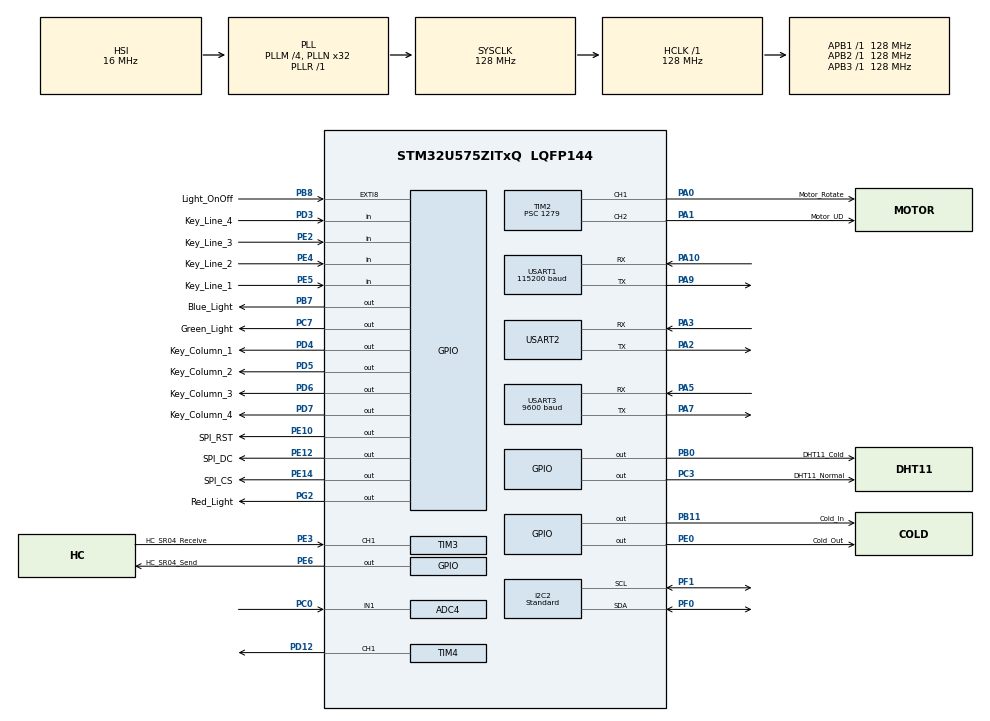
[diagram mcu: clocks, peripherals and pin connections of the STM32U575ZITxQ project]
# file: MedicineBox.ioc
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ADC4.Channel-1\#ChannelRegularConversion=ADC_CHANNEL_1
ADC4.ClockPrescaler=ADC_CLOCK_ASYNC_DIV8
ADC4.ContinuousConvMode=ENABLE
ADC4.DMAContinuousRequests=ENABLE
ADC4.EnableAnalogWatchDog1=false
ADC4.LowPowerAutoWait=DISABLE
ADC4.NbrOfConversionFlag=1
ADC4.OffsetNumber-1\#ChannelRegularConversion=ADC_OFFSET_NONE
ADC4.Overrun=ADC_OVR_DATA_OVERWRITTEN
ADC4.Rank-1\#ChannelRegularConversion=1
ADC4.RankArg-1\#ChannelRegularConversion=ADC4_REGULAR_RANK_1
ADC4.SamplingTime-1\#ChannelRegularConversion=ADC4_SAMPLINGTIME_COMMON_1
ADC4.SamplingTimeCommon1=ADC4_SAMPLETIME_814CYCLES_5
ADC4.SamplingTimeCommon2=ADC4_SAMPLETIME_814CYCLES_5
ADC4.SelectedChannel=ADC_CHANNEL_1
CORTEX_M33_NS.userName=CORTEX_M33
GPDMA1.BLKHWREQUEST_GPDMACH2-SIMPLEREQUEST_GPDMACH2=DMA_BREQ_BLOCK
GPDMA1.CIRCULARMODE_GPDMACH2=DISABLE
GPDMA1.CIRCULARMODE_GPDMACH3=DISABLE
GPDMA1.CIRCULARMODE_GPDMACH4=DISABLE
GPDMA1.CIRCULARMODE_GPDMACH5=ENABLE
GPDMA1.DESTDATAWIDTH_GPDMACH4=DMA_DEST_DATAWIDTH_BYTE
GPDMA1.DESTDATAWIDTH_GPDMACH5=DMA_DEST_DATAWIDTH_WORD
GPDMA1.DESTINC_GPDMACH2=DMA_DINC_INCREMENTED
GPDMA1.DIRECTION_GPDMACH1=DMA_MEMORY_TO_PERIPH
GPDMA1.DIRECTION_GPDMACH3=DMA_MEMORY_TO_PERIPH
GPDMA1.DIRECTION_GPDMACH4=DMA_MEMORY_TO_PERIPH
GPDMA1.IPHANDLE_GPDMACH1-SIMPLEREQUEST_GPDMACH1=__NULL
GPDMA1.IPHANDLE_GPDMACH2-SIMPLEREQUEST_GPDMACH2=__NULL
GPDMA1.IPHANDLE_GPDMACH3-SIMPLEREQUEST_GPDMACH3=__NULL
GPDMA1.IPHANDLE_GPDMACH4-SIMPLEREQUEST_GPDMACH4=__NULL
GPDMA1.IPHANDLE_GPDMACH5-SIMPLEREQUEST_GPDMACH5=__NULL
GPDMA1.PRIORITY_GPDMACH1=DMA_LOW_PRIORITY_MID_WEIGHT
GPDMA1.PRIORITY_GPDMACH2=DMA_LOW_PRIORITY_HIGH_WEIGHT
GPDMA1.REQUEST_GPDMACH1=GPDMA1_REQUEST_I2C2_TX
GPDMA1.REQUEST_GPDMACH2=GPDMA1_REQUEST_USART2_RX
GPDMA1.REQUEST_GPDMACH3=GPDMA1_REQUEST_USART2_TX
GPDMA1.REQUEST_GPDMACH4=GPDMA1_REQUEST_TIM4_CH1
GPDMA1.REQUEST_GPDMACH5=GPDMA1_REQUEST_ADC4
GPDMA1.SRCDATAWIDTH_GPDMACH4=DMA_SRC_DATAWIDTH_BYTE
GPDMA1.SRCDATAWIDTH_GPDMACH5=DMA_SRC_DATAWIDTH_WORD
GPDMA1.SRCINC_GPDMACH1=DMA_SINC_INCREMENTED
GPDMA1.SRCINC_GPDMACH2=DMA_SINC_FIXED
GPDMA1.SRCINC_GPDMACH3=DMA_SINC_INCREMENTED
GPDMA1.SRCINC_GPDMACH4=DMA_SINC_INCREMENTED
GPDMA1.TRIGGERPOLARITY_GPDMACH4=DMA_TRIG_POLARITY_MASKED
I2C2.I2C_Speed_Mode=I2C_Standard
I2C2.Timing=0x00303D5B
Mcu.Family=STM32U5
Mcu.Name=STM32U575ZITxQ
Mcu.Package=LQFP144
NVIC.ADC4_IRQn=true\:0\:0\:false\:false\:true\:true\:true\:true
NVIC.EXTI8_IRQn=true\:0\:0\:false\:false\:true\:true\:true\:true
NVIC.GPDMA1_Channel1_IRQn=true\:0\:0\:false\:false\:true\:false\:true\:true
NVIC.GPDMA1_Channel2_IRQn=true\:0\:0\:false\:false\:true\:false\:true\:true
NVIC.GPDMA1_Channel3_IRQn=true\:0\:0\:false\:false\:true\:false\:true\:true
NVIC.GPDMA1_Channel4_IRQn=true\:0\:0\:false\:false\:true\:false\:true\:true
NVIC.GPDMA1_Channel5_IRQn=true\:0\:0\:false\:false\:true\:false\:true\:true
NVIC.PriorityGroup=NVIC_PRIORITYGROUP_4
NVIC.RTC_IRQn=true\:0\:0\:false\:false\:true\:true\:true\:true
NVIC.TIM1_UP_IRQn=true\:15\:0\:false\:false\:true\:false\:true\:true
NVIC.TIM3_IRQn=true\:0\:0\:false\:false\:true\:true\:true\:true
NVIC.TIM4_IRQn=true\:0\:0\:false\:false\:true\:true\:true\:true
NVIC.TIM5_IRQn=true\:14\:0\:true\:false\:true\:true\:true\:true
NVIC.TimeBase=TIM1_UP_IRQn
NVIC.TimeBaseIP=TIM1
NVIC.USART1_IRQn=true\:1\:0\:true\:false\:true\:true\:true\:true
NVIC.USART2_IRQn=true\:0\:0\:true\:false\:true\:true\:true\:true
PA0.GPIO_Label=Motor_Rotate
PA0.Signal=S_TIM2_CH1
PA1.GPIO_Label=Motor_UD
PA1.Signal=S_TIM2_CH2
PA10.Mode=Asynchronous
PA10.Signal=USART1_RX
PA13\ (JTMS/SWDIO).Mode=Serial_Wire
PA13\ (JTMS/SWDIO).Signal=DEBUG_JTMS-SWDIO
PA14\ (JTCK/SWCLK).Mode=Serial_Wire
PA14\ (JTCK/SWCLK).Signal=DEBUG_JTCK-SWCLK
PA2.GPIO_PuPd=GPIO_PULLUP
PA2.GPIO_Speed=GPIO_SPEED_FREQ_HIGH
PA2.Mode=Asynchronous
PA2.Signal=USART2_TX
PA3.GPIO_PuPd=GPIO_PULLUP
PA3.GPIO_Speed=GPIO_SPEED_FREQ_HIGH
PA3.Mode=Asynchronous
PA3.Signal=USART2_RX
PA5.Mode=Asynchronous
PA5.Signal=USART3_RX
PA7.Mode=Asynchronous
PA7.Signal=USART3_TX
PA9.Mode=Asynchronous
PA9.Signal=USART1_TX
PB0.GPIO_Label=DHT11_Cold
PB0.PinState=GPIO_PIN_SET
PB0.Signal=GPIO_Output
PB11.GPIO_Label=Cold_In
PB11.GPIO_ModeDefaultOutputPP=GPIO_MODE_OUTPUT_PP
PB11.GPIO_PuPd=GPIO_PULLDOWN
PB11.GPIO_Speed=GPIO_SPEED_FREQ_HIGH
PB11.Signal=GPIO_Output
PB7.GPIO_Label=Blue_Light
PB7.GPIO_PuPd=GPIO_PULLDOWN
PB7.GPIO_Speed=GPIO_SPEED_FREQ_HIGH
PB7.PinState=GPIO_PIN_RESET
PB7.Signal=GPIO_Output
PB8.GPIO_Label=Light_On\\Off
PB8.GPIO_PuPd=GPIO_PULLUP
PB8.Signal=GPXTI8
PC0.Mode=IN1
PC0.Signal=ADC4_IN1
PC14-OSC32_IN\ (PC14).Mode=LSE-External-Oscillator
PC14-OSC32_IN\ (PC14).Signal=RCC_OSC32_IN
PC15-OSC32_OUT\ (PC15).Mode=LSE-External-Oscillator
PC15-OSC32_OUT\ (PC15).Signal=RCC_OSC32_OUT
PC3.GPIO_Label=DHT11_Normal
PC3.GPIO_ModeDefaultOutputPP=GPIO_MODE_OUTPUT_PP
PC3.GPIO_Speed=GPIO_SPEED_FREQ_LOW
PC3.PinState=GPIO_PIN_SET
PC3.Signal=GPIO_Output
PC7.GPIO_Label=Green_Light
PC7.GPIO_PuPd=GPIO_PULLDOWN
PC7.GPIO_Speed=GPIO_SPEED_FREQ_HIGH
PC7.Signal=GPIO_Output
PD12.GPIO_PuPd=GPIO_PULLUP
PD12.GPIO_Speed=GPIO_SPEED_FREQ_VERY_HIGH
PD12.Signal=S_TIM4_CH1
PD3.GPIO_Label=Key_Line_4
PD3.Signal=GPIO_Input
PD4.GPIO_Label=Key_Column_1
PD4.GPIO_PuPd=GPIO_PULLDOWN
PD4.Signal=GPIO_Output
PD5.GPIO_Label=Key_Column_2
PD5.GPIO_PuPd=GPIO_PULLDOWN
PD5.Signal=GPIO_Output
PD6.GPIO_Label=Key_Column_3
PD6.GPIO_PuPd=GPIO_PULLDOWN
PD6.Signal=GPIO_Output
PD7.GPIO_Label=Key_Column_4
PD7.GPIO_PuPd=GPIO_PULLDOWN
PD7.Signal=GPIO_Output
PE0.GPIO_Label=Cold_Out
PE0.GPIO_ModeDefaultOutputPP=GPIO_MODE_OUTPUT_OD
PE0.GPIO_PuPd=GPIO_NOPULL
PE0.GPIO_Speed=GPIO_SPEED_FREQ_LOW
PE0.PinState=GPIO_PIN_SET
PE0.Signal=GPIO_Output
PE10.GPIO_Label=SPI_RST
PE10.Signal=GPIO_Output
PE12.GPIO_Label=SPI_DC
PE12.Signal=GPIO_Output
PE14.GPIO_Label=SPI_CS
PE14.Signal=GPIO_Output
PE2.GPIO_Label=Key_Line_3
PE2.Signal=GPIO_Input
PE3.GPIO_Label=HC_SR04_Receive
PE3.Signal=S_TIM3_CH1
PE4.GPIO_Label=Key_Line_2
PE4.Signal=GPIO_Input
PE5.GPIO_Label=Key_Line_1
PE5.Signal=GPIO_Input
PE6.GPIO_Label=HC_SR04_Send
PE6.GPIO_PuPd=GPIO_PULLDOWN
PE6.GPIO_Speed=GPIO_SPEED_FREQ_LOW
PE6.Signal=GPIO_Output
PF0.GPIO_Pu=GPIO_PULLUP
PF0.Mode=I2C
PF0.Signal=I2C2_SDA
PF1.GPIO_Pu=GPIO_PULLUP
PF1.Mode=I2C
PF1.Signal=I2C2_SCL
PG2.GPIO_Label=Red_Light
PG2.GPIO_PuPd=GPIO_PULLDOWN
PG2.GPIO_Speed=GPIO_SPEED_FREQ_HIGH
PG2.Signal=GPIO_Output
PWR.IcachePowerDownInStopMode=__NULL
PWR.PowerMode=PWR_SMPS_SUPPLY
ProjectManager.HeapSize=0x200
ProjectManager.StackSize=0x400
ProjectManager.TargetToolchain=MDK-ARM V5.32
RCC.ADCFreq_Value=16000000
RCC.AHBFreq_Value=128000000
RCC.APB1Freq_Value=128000000
RCC.APB1TimFreq_Value=128000000
RCC.APB2Freq_Value=128000000
RCC.APB2TimFreq_Value=128000000
RCC.APB3Freq_Value=128000000
RCC.CortexFreq_Value=128000000
RCC.DACCLockSelectionVirtual=RCC_DAC1CLKSOURCE_LSI
RCC.DACCLockSelectionVirtualString=RCC_DAC1CLKSOURCE_LSI
RCC.EPOD_VALUE=16000000
RCC.HCLKFreq_Value=128000000
RCC.HSE_VALUE=16000000
RCC.HSI48_VALUE=48000000
RCC.HSI_VALUE=16000000
RCC.I2C2CLockSelection=RCC_I2C2CLKSOURCE_HSI
RCC.LPTIM1CLockSelectionVirtual=RCC_LPTIM1CLKSOURCE_LSI
RCC.LPTIM2CLockSelectionVirtual=RCC_LPTIM2CLKSOURCE_LSI
RCC.LSIDIV_VALUE=32000
RCC.MSIClockRange=RCC_MSIRANGE_0
RCC.MSI_VALUE=48000000
RCC.PLL1R=1
RCC.PLL2FRACN=0
RCC.PLL3FRACN=0
RCC.PLLFRACN=0
RCC.PLLM=4
RCC.PLLN=32
RCC.PLLSourceVirtual=RCC_PLLSOURCE_HSI
RCC.RTCClockSelection=RCC_RTCCLKSOURCE_LSE
RCC.SYSCLKFreq_VALUE=128000000
RCC.SYSCLKSource=RCC_SYSCLKSOURCE_PLLCLK
RCC.USBFreq_Value=48000000
RCC.VCOOutputFreq_Value=128000000
RTC.Alarm-Alarm\ A=RTC_ALARM_A
RTC.AlarmDateWeekDaySel-Alarm\ A=RTC_ALARMDATEWEEKDAYSEL_DATE
RTC.BinMode=RTC_BINARY_NONE
RTC.Date=8
RTC.Format=RTC_FORMAT_BIN
RTC.Hours=18
RTC.Hours_A-Alarm\ A=18
RTC.Minutes=25
RTC.Minutes_A-Alarm\ A=26
RTC.Month=RTC_MONTH_MAY
RTC.WeekDay=RTC_WEEKDAY_THURSDAY
RTC.Year=55
SH.S_TIM2_CH1.0=TIM2_CH1,PWM Generation1 CH1
SH.S_TIM2_CH2.0=TIM2_CH2,PWM Generation2 CH2
SH.S_TIM3_CH1.0=TIM3_CH1,Input_Capture1_from_TI1
SH.S_TIM4_CH1.0=TIM4_CH1,PWM Generation1 CH1
TIM2.AutoReloadPreload=TIM_AUTORELOAD_PRELOAD_ENABLE
TIM2.Channel-PWM\ Generation1\ CH1=TIM_CHANNEL_1
TIM2.Channel-PWM\ Generation2\ CH2=TIM_CHANNEL_2
TIM2.PeriodNoDither=2000
TIM2.Prescaler=1279
TIM2.TIM_MasterSlaveMode=TIM_MASTERSLAVEMODE_DISABLE
TIM3.AutoReloadPreload=TIM_AUTORELOAD_PRELOAD_ENABLE
TIM3.Channel-Input_Capture1_from_TI1=TIM_CHANNEL_1
TIM3.ICFilter_CH1=15
TIM3.PeriodNoDither=65535
TIM3.Prescaler=127
TIM3.TIM_MasterSlaveMode=TIM_MASTERSLAVEMODE_DISABLE
TIM4.Channel-PWM\ Generation1\ CH1=TIM_CHANNEL_1
TIM4.PeriodNoDither=127
TIM4.Prescaler=0
TIM5.AutoReloadPreload=TIM_AUTORELOAD_PRELOAD_ENABLE
TIM5.PeriodNoDither=9999
TIM5.Prescaler=12799
USART1.BaudRate=115200
USART1.DMADisableonRxErrorParam=ADVFEATURE_DMA_DISABLEONRXERROR
USART1.OverrunDisableParam=ADVFEATURE_OVERRUN_DISABLE
USART1.VirtualMode-Asynchronous=VM_ASYNC
USART2.DMADisableonRxErrorParam=ADVFEATURE_DMA_DISABLEONRXERROR
USART2.OverrunDisableParam=ADVFEATURE_OVERRUN_DISABLE
USART2.VirtualMode-Asynchronous=VM_ASYNC
USART3.BaudRate=9600
USART3.DMADisableonRxErrorParam=ADVFEATURE_DMA_DISABLEONRXERROR
USART3.Mode=MODE_TX
USART3.OverrunDisableParam=ADVFEATURE_OVERRUN_DISABLE
USART3.VirtualMode-Asynchronous=VM_ASYNC
VP_FMAC_VS_FMAC.Mode=FMAC_Activate
VP_GPDMA1_VS_GPDMACH1.Mode=SIMPLEREQUEST_GPDMACH1
VP_GPDMA1_VS_GPDMACH2.Mode=SIMPLEREQUEST_GPDMACH2
VP_GPDMA1_VS_GPDMACH3.Mode=SIMPLEREQUEST_GPDMACH3
VP_GPDMA1_VS_GPDMACH4.Mode=SIMPLEREQUEST_GPDMACH4
VP_GPDMA1_VS_GPDMACH5.Mode=SIMPLEREQUEST_GPDMACH5
VP_ICACHE_VS_ICACHE.Mode=DirectMappedCache
VP_LPBAMQUEUE_VS_QUEUE.Mode=QUEUEMODE
VP_LPBAM_VS_SIG1.Mode=SmartRun
VP_LPBAM_VS_SIG4.Mode=LPDMA1
VP_PWR_VS_DBSignals.Mode=DisableDeadBatterySignals
VP_PWR_VS_LPOM.Mode=PowerOptimisation
VP_PWR_VS_SECSignals.Mode=Security/Privilege
VP_RTC_VS_RTC_Activate.Mode=RTC_Enabled
VP_RTC_VS_RTC_Alarm_A_Intern.Mode=Alarm A
VP_RTC_VS_RTC_Calendar.Mode=RTC_Calendar
VP_SYS_VS_tim1.Mode=TIM1
VP_TIM2_VS_ClockSourceINT.Mode=Internal
VP_TIM3_VS_ClockSourceINT.Mode=Internal
VP_TIM4_VS_ClockSourceINT.Mode=Internal
VP_TIM5_VS_ClockSourceINT.Mode=Internal
board=custom

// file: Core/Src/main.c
/* USER CODE BEGIN Header */
/**
 ******************************************************************************
 * @file           : main.c
 * @brief          : Main program body
 ******************************************************************************
 * @attention
 *
 * Copyright (c) 2025 STMicroelectronics.
 * All rights reserved.
 *
 * This software is licensed under terms that can be found in the LICENSE file
 * in the root directory of this software component.
 * If no LICENSE file comes with this software, it is provided AS-IS.
 *
 ******************************************************************************
 */
/* USER CODE END Header */
#include "main.h"
#include "adc.h"
#include "fmac.h"
#include "gpdma.h"
#include "i2c.h"
#include "icache.h"
#include "rtc.h"
#include "tim.h"
#include "usart.h"
#include "gpio.h"

/* USER CODE BEGIN Includes */
#include "UART.h"
#include "oled.h"
#include "font.h"
#include "Flash.h"
#include "Motor.h"
#include "DHT11.h"
#include "GRB.h"
#include "HC_SR04.h"
#include "Key.h"
#include "RTC_Medicine.h"
#include "stm32u5xx_hal_rtc.h"
#include "stm32u5xx_hal_uart.h"
/* USER CODE END Includes */

/* USER CODE BEGIN PV */

RTC_TimeTypeDef sTime = {0};
RTC_DateTypeDef sDate = {0};
RTC_AlarmTypeDef sAlarm = {0};

/* USER CODE END PV */

void SystemClock_Config(void);
static void SystemPower_Config(void);
/* USER CODE BEGIN PFP */

/**
 * @brief 延迟函数修改
 */
void HAL_IncTick(void)
{
    if (uwTickFreq == 0)
    {
        uwTickFreq = HAL_TICK_FREQ_DEFAULT;
    }
    uwTick += uwTickFreq;
}

/* USER CODE END PFP */

/* USER CODE BEGIN 0 */

extern uint8_t Fan_Status;
extern uint8_t Temp, Humid;            ///< 温湿�???????????????????
extern uint8_t Light_Status;           ///< 夜间�???????????????????关灯状�??
extern uint32_t ADC_Light_Data;        ///< 光敏值，范围�???????????????????0~4095
extern uint8_t Day_Night_Status;       ///< 白天和夜晚状态，夜晚�???????????????????1
extern uint8_t Medicine_Remind_Status; ///< 服药提醒状�?�位�??????????????1为到点提�??????????????
extern const char Voice_Reminder[];
extern const char Voice_MedicineOK[]; ///< 网络连接成功语音
extern uint8_t Key_Status;            // 键盘从左�????右为1~4，从上往下为1�????5�????9�????13，对�????0~F标记

/* USER CODE END 0 */

int main(void)
{

  /* MCU Configuration--------------------------------------------------------*/

  /* Reset of all peripherals, Initializes the Flash interface and the Systick. */
  HAL_Init();

  /* Configure the system clock */
  SystemClock_Config();

  /* Configure the System Power */
  SystemPower_Config();

  /* Initialize all configured peripherals */
  MX_GPIO_Init();
  MX_TIM2_Init();
  MX_GPDMA1_Init();
  MX_USART2_UART_Init();
  MX_USART1_UART_Init();
  MX_RTC_Init();
  MX_ICACHE_Init();
  MX_FMAC_Init();
  MX_USART3_UART_Init();
  MX_TIM3_Init();
  MX_TIM4_Init();
  MX_ADC4_Init();
  MX_TIM5_Init();
  MX_I2C2_Init();
  /* USER CODE BEGIN 2 */

    All_Connect();

    DHT11_Delay_Init();                                                                                       // DWT计时器开�???????????????????
    HAL_TIM_Base_Start_IT(&htim5);                                                                            // �???????????????????启温度测�???????????????????
    HAL_TIM_IC_Start_IT(&htim3, TIM_CHANNEL_1);                                                               // �???????????????????启超声波测量
    __HAL_UART_ENABLE_IT(&huart2, UART_IT_IDLE);                                                              // �???????????????????启ESP01
    HAL_TIM_PWM_Start_DMA(&htim4, TIM_CHANNEL_1, (uint32_t *)LED_Array, sizeof(LED_Array) / sizeof(uint8_t)); // �???????????????????启灯�???????????????????

    HAL_ADCEx_Calibration_Start(&hadc4, ADC_CALIB_OFFSET, ADC_SINGLE_ENDED); // �???????????????????启光敏传�???????????????????
    HAL_Delay(1);
    HAL_ADC_Start_DMA(&hadc4, &ADC_Light_Data, 1);
    __HAL_ADC_ENABLE_IT(&hadc4, ADC_IT_AWD1);

    // HAL_GPIO_WritePin(GPIOG, GPIO_PIN_2, GPIO_PIN_SET); // 亮红�??????????
    // HAL_GPIO_WritePin(GPIOB, GPIO_PIN_7, GPIO_PIN_SET); // 亮蓝�??????????
    // HAL_GPIO_WritePin(GPIOC, GPIO_PIN_7, GPIO_PIN_SET); // 亮绿�??????????

    HSV Yellow_Color = {0}; ///< 黄色夜灯
    Yellow_Color.H = 40;
    Yellow_Color.S = 1.0f;
    Yellow_Color.V = 0.01f;

    HSV Orange_Color = {0}; ///< 橙色提醒
    Orange_Color.H = 15;
    Orange_Color.S = 1.0f;
    Orange_Color.V = 0.5f;

    HSV Blue_Color = {0}; ///< 蓝色制冷�??????????
    Blue_Color.H = 240;
    Blue_Color.S = 0.8f;
    Blue_Color.V = 0.5f;
    GRB GRB_Blue = {0};
    HSV_To_GRB(&Blue_Color, &GRB_Blue);

    GRB GRB_Yellow = {0};
    HSV_To_GRB(&Yellow_Color, &GRB_Yellow);

    float Measure = 0;
    uint8_t Night_Breath_Status = 0; ///< 判断白天是否关闭夜灯�???????????????????1为开启夜灯，使关灯只执行�???????????????????�???????????????????
    uint8_t Night_Light_Init = 0;    ///< 夜晚�??????????????�??????????????始亮�??????????????暗的灯，后面不变，亮灯为1

  /* USER CODE END 2 */

  /* Infinite loop */
  /* USER CODE BEGIN WHILE */
    while (1)
    {
        HAL_Delay(200);
        if (Light_Status)
        {
            if (Medicine_Remind_Status == 2) // 服药成功提示
            {
                GRB_Medicine_Successful();
                Voice_Remind(Voice_MedicineOK);
            }
            else if (ADC_Light_Data > 3600) // 夜间状�??
            {
                if (!Night_Light_Init) // 亮黄夜灯
                {
                    for (uint8_t i = 0; i < 60; i++)
                    {
                        GRB_Write(i, GRB_Yellow);
                    }
                    GRB_Send();
                    Night_Light_Init = 1;
                }
                HAL_GPIO_WritePin(GPIOB, GPIO_PIN_7, GPIO_PIN_SET);
                HC_Send_Trig();
                HAL_Delay(50);
                Measure = HC_Get_Measure(Temp);
                GRB_Distance_Breath(&Yellow_Color, Measure);
                Night_Breath_Status = 1;
            }
            else if (Medicine_Remind_Status == 1) // 服药提醒�??????????
            {
                GRB_Breath(&Orange_Color);
                Voice_Remind(Voice_Reminder);
            }
            else if (Fan_Status == 1) // 制冷�??????????
            {
                for (uint8_t i = 0; i < 60; i++)
                {
                    GRB_Write(i, GRB_Blue);
                }
                GRB_Send();
            }
            else if (ADC_Light_Data < 3550) // 白天关夜�??????????
            {
                Night_Light_Init = 0;
                GRB_Close();
                Night_Breath_Status = 0;
                HAL_GPIO_WritePin(GPIOB, GPIO_PIN_7, GPIO_PIN_RESET);
            }
        }
        else if (Night_Breath_Status)
        {
            GRB_Close();
            Night_Breath_Status = 0;
            HAL_GPIO_WritePin(GPIOB, GPIO_PIN_7, GPIO_PIN_RESET);
        }
        HAL_RTC_GetTime(&hrtc, &sTime, RTC_FORMAT_BIN);
        HAL_RTC_GetDate(&hrtc, &sDate, RTC_FORMAT_BIN);
        HAL_RTC_GetAlarm(&hrtc, &sAlarm, RTC_ALARM_A, RTC_FORMAT_BIN);
        Motor_Operation(&Cabinet_List);
        Uart_printf(&huart1, "Time:%d/%d/%d %d:%d:%d\nAlarm:%d %d:%d", sDate.Year, sDate.Month, sDate.Date, sTime.Hours, sTime.Minutes, sTime.Seconds, sAlarm.AlarmDateWeekDay, sAlarm.AlarmTime.Hours, sAlarm.AlarmTime.Minutes);

    /* USER CODE END WHILE */

    }
}

void SystemClock_Config(void)
{
  RCC_OscInitTypeDef RCC_OscInitStruct = {0};
  RCC_ClkInitTypeDef RCC_ClkInitStruct = {0};

  /** Configure the main internal regulator output voltage
  */
  if (HAL_PWREx_ControlVoltageScaling(PWR_REGULATOR_VOLTAGE_SCALE1) != HAL_OK)
  {
    Error_Handler();
  }

  /** Configure LSE Drive Capability
  */
  HAL_PWR_EnableBkUpAccess();
  __HAL_RCC_LSEDRIVE_CONFIG(RCC_LSEDRIVE_LOW);

  /** Initializes the CPU, AHB and APB busses clocks
  */
  RCC_OscInitStruct.OscillatorType = RCC_OSCILLATORTYPE_HSI|RCC_OSCILLATORTYPE_LSE;
  RCC_OscInitStruct.LSEState = RCC_LSE_ON;
  RCC_OscInitStruct.HSIState = RCC_HSI_ON;
  RCC_OscInitStruct.HSICalibrationValue = RCC_HSICALIBRATION_DEFAULT;
  RCC_OscInitStruct.PLL.PLLState = RCC_PLL_ON;
  RCC_OscInitStruct.PLL.PLLSource = RCC_PLLSOURCE_HSI;
  RCC_OscInitStruct.PLL.PLLMBOOST = RCC_PLLMBOOST_DIV1;
  RCC_OscInitStruct.PLL.PLLM = 4;
  RCC_OscInitStruct.PLL.PLLN = 32;
  RCC_OscInitStruct.PLL.PLLP = 2;
  RCC_OscInitStruct.PLL.PLLQ = 2;
  RCC_OscInitStruct.PLL.PLLR = 1;
  RCC_OscInitStruct.PLL.PLLRGE = RCC_PLLVCIRANGE_0;
  RCC_OscInitStruct.PLL.PLLFRACN = 0;
  if (HAL_RCC_OscConfig(&RCC_OscInitStruct) != HAL_OK)
  {
    Error_Handler();
  }

  /** Initializes the CPU, AHB and APB busses clocks
  */
  RCC_ClkInitStruct.ClockType = RCC_CLOCKTYPE_HCLK|RCC_CLOCKTYPE_SYSCLK
                              |RCC_CLOCKTYPE_PCLK1|RCC_CLOCKTYPE_PCLK2
                              |RCC_CLOCKTYPE_PCLK3;
  RCC_ClkInitStruct.SYSCLKSource = RCC_SYSCLKSOURCE_PLLCLK;
  RCC_ClkInitStruct.AHBCLKDivider = RCC_SYSCLK_DIV1;
  RCC_ClkInitStruct.APB1CLKDivider = RCC_HCLK_DIV1;
  RCC_ClkInitStruct.APB2CLKDivider = RCC_HCLK_DIV1;
  RCC_ClkInitStruct.APB3CLKDivider = RCC_HCLK_DIV1;

  if (HAL_RCC_ClockConfig(&RCC_ClkInitStruct, FLASH_LATENCY_3) != HAL_OK)
  {
    Error_Handler();
  }
}

/**
  * @brief Power Configuration
  * @retval None
  */
static void SystemPower_Config(void)
{
  HAL_PWREx_EnableVddIO2();

  /*
   * Disable the internal Pull-Up in Dead Battery pins of UCPD peripheral
   */
  HAL_PWREx_DisableUCPDDeadBattery();

  /*
   * Switch to SMPS regulator instead of LDO
   */
  if (HAL_PWREx_ConfigSupply(PWR_SMPS_SUPPLY) != HAL_OK)
  {
    Error_Handler();
  }
}

void HAL_TIM_PeriodElapsedCallback(TIM_HandleTypeDef *htim)
{
  if (htim->Instance == TIM1) {
    HAL_IncTick();
  }
}

void Error_Handler(void)
{
    __disable_irq();
    while (1)
    {
    }
}
